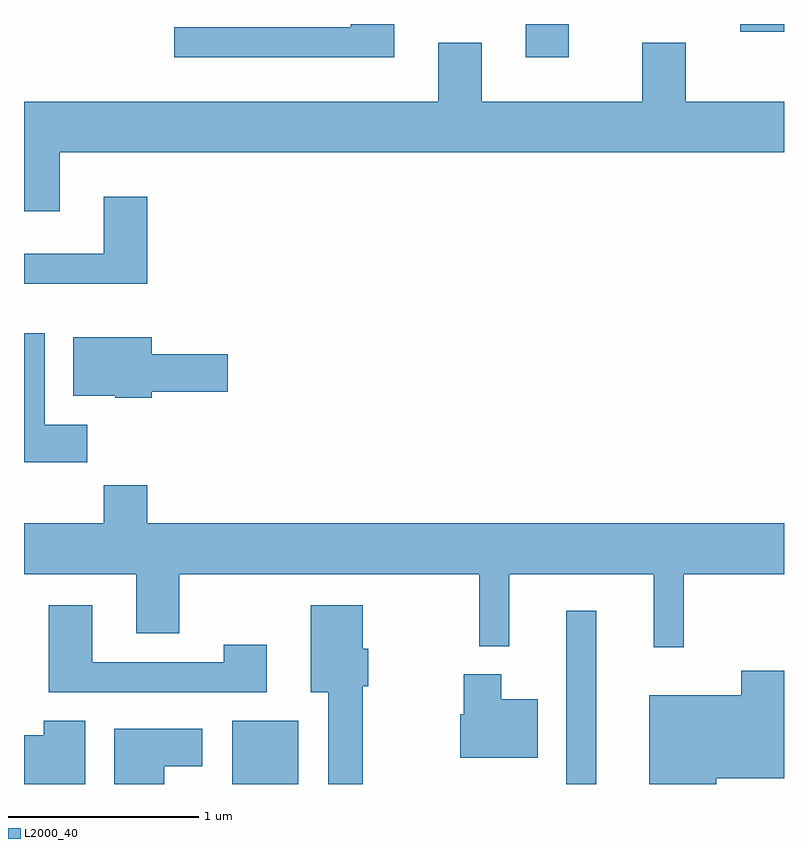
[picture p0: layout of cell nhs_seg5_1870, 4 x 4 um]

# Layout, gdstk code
import gdstk
lib = gdstk.Library(unit=1e-6, precision=1e-09)
def R(c, l, rs):  # rectangles x0, y0, x1, y1
    for r in rs: c.add(gdstk.rectangle(r[:2], r[2:], *l))
def P(c, l, *ps):  # polygons
    for p in ps: c.add(gdstk.Polygon(p, *l))
L2000_40 = (2000, 40)

nhs_seg5_1870 = lib.new_cell('nhs_seg5_1870')
R(nhs_seg5_1870, L2000_40, [(240.706,1520.072,241.054,1520.404), (242.466,1520.072,242.624,1520.983), (242.251,1523.896,242.479,1524.072), (243.381,1524.031,243.611,1524.072)])
P(nhs_seg5_1870, L2000_40, [(241.559,1524.072),(241.331,1524.072),(241.331,1524.054),(240.403,1524.054),(240.403,1523.896),(241.559,1523.896)],
  [(239.799,1523.396),(243.611,1523.396),(243.611,1523.664),(243.094,1523.664),(243.094,1523.974),(242.866,1523.974),(242.866,1523.664),(242.019,1523.664),(242.019,1523.974),(241.791,1523.974),(241.791,1523.664),(239.611,1523.664),(239.611,1523.086),(239.799,1523.086)],
  [(240.259,1523.164),(240.031,1523.164),(240.031,1522.864),(239.611,1522.864),(239.611,1522.706),(240.259,1522.706)],
  [(239.944,1521.964),(239.719,1521.964),(239.719,1522.444),(239.611,1522.444),(239.611,1521.766),(239.944,1521.766)],
  [(240.284,1522.136),(240.684,1522.136),(240.684,1522.334),(240.284,1522.334),(240.284,1522.424),(239.871,1522.424),(239.871,1522.116),(240.09,1522.116),(240.09,1522.106),(240.284,1522.106)],
  [(243.084,1521.176),(243.611,1521.176),(243.611,1521.444),(240.259,1521.444),(240.259,1521.644),(240.031,1521.644),(240.031,1521.444),(239.611,1521.444),(239.611,1521.176),(240.201,1521.176),(240.201,1520.866),(240.429,1520.866),(240.429,1521.176),(242.006,1521.176),(242.006,1520.798),(242.164,1520.798),(242.164,1521.176),(242.926,1521.176),(242.926,1520.793),(243.084,1520.793)],
  [(240.889,1520.804),(240.661,1520.804),(240.661,1520.714),(239.969,1520.714),(239.969,1521.014),(239.741,1521.014),(239.741,1520.556),(240.889,1520.556)],
  [(241.394,1520.586),(241.424,1520.586),(241.424,1520.784),(241.394,1520.784),(241.394,1521.014),(241.121,1521.014),(241.121,1520.556),(241.211,1520.556),(241.211,1520.072),(241.394,1520.072)],
  [(243.254,1520.101),(243.611,1520.101),(243.611,1520.669),(243.386,1520.669),(243.386,1520.539),(242.901,1520.539),(242.901,1520.072),(243.254,1520.072)],
  [(242.314,1520.519),(242.124,1520.519),(242.124,1520.649),(241.926,1520.649),(241.926,1520.439),(241.906,1520.439),(241.906,1520.211),(242.314,1520.211)],
  [(239.934,1520.404),(239.716,1520.404),(239.716,1520.329),(239.611,1520.329),(239.611,1520.072),(239.934,1520.072)],
  [(240.349,1520.166),(240.549,1520.166),(240.549,1520.364),(240.086,1520.364),(240.086,1520.072),(240.349,1520.072)])

lib.write_gds('nhs_seg5_1870.gds')
